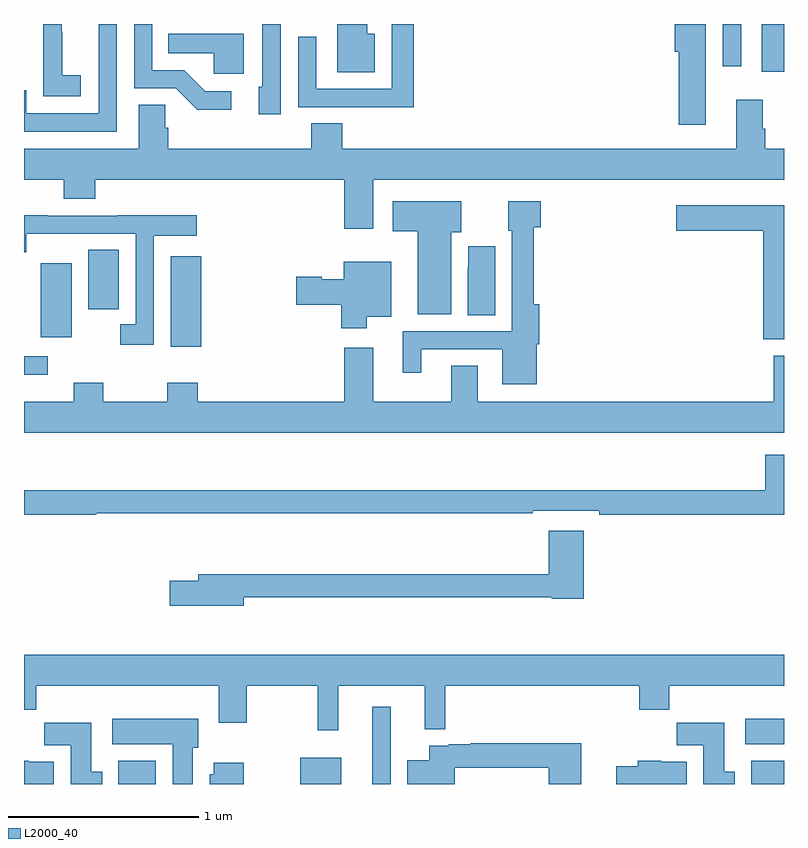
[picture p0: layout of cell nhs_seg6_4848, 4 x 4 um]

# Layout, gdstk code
import gdstk
lib = gdstk.Library(unit=1e-6, precision=1e-09)
def R(c, l, rs):  # rectangles x0, y0, x1, y1
    for r in rs: c.add(gdstk.rectangle(r[:2], r[2:], *l))
def P(c, l, *ps):  # polygons
    for p in ps: c.add(gdstk.Polygon(p, *l))
L2000_40 = (2000, 40)

nhs_seg6_4848 = lib.new_cell('nhs_seg6_4848')
R(nhs_seg6_4848, L2000_40, [(399.497,933.5,399.694,933.622), (400.454,933.5,400.669,933.637), (400.832,933.5,400.929,933.907), (402.827,933.5,403,933.622), (402.795,933.71,403,933.844), (399,935.654,399.124,935.751), (399.773,935.802,399.934,936.277), (399.089,935.852,399.25,936.241), (399.338,936,399.499,936.311), (402.884,937.25,403,937.5), (402.678,937.278,402.774,937.5)])
P(nhs_seg6_4848, L2000_40, [(402.589,937.5),(402.425,937.5),(402.425,937.353),(402.446,937.353),(402.446,936.969),(402.589,936.969)],
  [(400.09,937.146),(399.955,937.146),(399.844,937.257),(399.675,937.257),(399.675,937.5),(399.579,937.5),(399.579,937.161),(399.798,937.161),(399.911,937.049),(400.09,937.049)],
  [(400.846,937.45),(400.807,937.45),(400.807,937.5),(400.649,937.5),(400.649,937.247),(400.846,937.247)],
  [(401.051,937.5),(400.935,937.5),(400.935,937.158),(400.539,937.158),(400.539,937.432),(400.443,937.432),(400.443,937.062),(400.759,937.062),(400.759,937.061),(401.051,937.061)],
  [(399.298,937.231),(399.2,937.231),(399.2,937.46),(399.198,937.46),(399.198,937.5),(399.101,937.5),(399.101,937.327),(399.1,937.327),(399.1,937.121),(399.298,937.121)],
  [(400.35,937.5),(400.253,937.5),(400.253,937.474),(400.254,937.474),(400.254,937.17),(400.235,937.17),(400.235,937.026),(400.35,937.026)],
  [(399.489,937.5),(399.283,937.5),(399.283,937.498),(399.393,937.498),(399.393,937.029),(399.012,937.029),(399.012,937.152),(399,937.152),(399,936.933),(399.489,936.933)],
  [(400.156,937.45),(399.76,937.45),(399.76,937.346),(399.999,937.346),(399.999,937.238),(400.156,937.238)],
  [(400.837,936.68),(403,936.68),(403,936.844),(402.902,936.844),(402.902,936.95),(402.889,936.95),(402.889,937.102),(402.749,937.102),(402.749,936.844),(400.676,936.844),(400.676,936.977),(400.511,936.977),(400.511,936.844),(399.758,936.844),(399.758,936.953),(399.744,936.953),(399.744,937.076),(399.605,937.076),(399.605,936.844),(399,936.844),(399,936.68),(399.209,936.68),(399.209,936.581),(399.374,936.581),(399.374,936.68),(400.685,936.68),(400.685,936.423),(400.837,936.423)],
  [(401.248,936.403),(401.302,936.403),(401.302,936.568),(400.941,936.568),(400.941,936.41),(401.072,936.41),(401.072,935.972),(401.248,935.972)],
  [(401.698,935.814),(401.711,935.814),(401.711,936.025),(401.684,936.025),(401.684,936.43),(401.719,936.43),(401.719,936.568),(401.549,936.568),(401.549,936.411),(401.568,936.411),(401.568,935.883),(400.994,935.883),(400.994,935.664),(401.092,935.664),(401.092,935.787),(401.516,935.787),(401.516,935.603),(401.698,935.603)],
  [(403,936.547),(402.432,936.547),(402.432,936.413),(402.89,936.413),(402.89,935.84),(403,935.84)],
  [(399.684,936.386),(399.91,936.386),(399.91,936.494),(399.491,936.494),(399.491,936.492),(399.125,936.492),(399.125,936.494),(399,936.494),(399,936.299),(399.013,936.299),(399.013,936.395),(399.242,936.395),(399.242,936.396),(399.588,936.396),(399.588,935.919),(399.507,935.919),(399.507,935.811),(399.684,935.811)],
  [(401.479,936.331),(401.339,936.331),(401.339,936.218),(401.336,936.218),(401.336,935.968),(401.479,935.968)],
  [(400.804,935.96),(400.933,935.96),(400.933,936.25),(400.682,936.25),(400.682,936.157),(400.566,936.157),(400.566,936.17),(400.434,936.17),(400.434,936.023),(400.67,936.023),(400.67,935.898),(400.804,935.898)],
  [(403,935.755),(402.947,935.755),(402.947,935.512),(401.389,935.512),(401.389,935.702),(401.249,935.702),(401.249,935.512),(400.837,935.512),(400.837,935.797),(400.685,935.797),(400.685,935.512),(399.914,935.512),(399.914,935.611),(399.754,935.611),(399.754,935.512),(399.417,935.512),(399.417,935.611),(399.262,935.611),(399.262,935.512),(399,935.512),(399,935.348),(403,935.348)],
  [(399.38,934.926),(401.678,934.926),(401.678,934.938),(402.028,934.938),(402.028,934.918),(403,934.918),(403,935.233),(402.902,935.233),(402.902,935.047),(399,935.047),(399,934.918),(399.38,934.918)],
  [(400.156,934.482),(401.778,934.482),(401.778,934.474),(401.945,934.474),(401.945,934.834),(401.762,934.834),(401.762,934.603),(399.917,934.603),(399.917,934.569),(399.768,934.569),(399.768,934.439),(400.156,934.439)],
  [(400.655,934.016),(401.108,934.016),(401.108,933.787),(401.216,933.787),(401.216,934.016),(402.239,934.016),(402.239,933.892),(402.395,933.892),(402.395,934.016),(403,934.016),(403,934.18),(399,934.18),(399,933.892),(399.065,933.892),(399.065,934.016),(400.025,934.016),(400.025,933.822),(400.173,933.822),(400.173,934.016),(400.545,934.016),(400.545,933.783),(400.655,933.783)],
  [(399.889,933.69),(399.916,933.69),(399.916,933.844),(399.465,933.844),(399.465,933.71),(399.782,933.71),(399.782,933.5),(399.889,933.5)],
  [(402.742,933.564),(402.685,933.564),(402.685,933.823),(402.436,933.823),(402.436,933.704),(402.575,933.704),(402.575,933.5),(402.742,933.5)],
  [(399.412,933.564),(399.355,933.564),(399.355,933.823),(399.106,933.823),(399.106,933.704),(399.245,933.704),(399.245,933.5),(399.412,933.5)],
  [(401.267,933.586),(401.762,933.586),(401.762,933.5),(401.932,933.5),(401.932,933.715),(401.35,933.715),(401.35,933.708),(401.236,933.708),(401.236,933.702),(401.132,933.702),(401.132,933.625),(401.018,933.625),(401.018,933.5),(401.267,933.5)],
  [(402.487,933.616),(402.354,933.616),(402.354,933.622),(402.229,933.622),(402.229,933.594),(402.117,933.594),(402.117,933.5),(402.487,933.5)],
  [(399.157,933.616),(399.024,933.616),(399.024,933.622),(399,933.622),(399,933.5),(399.157,933.5)],
  [(400.156,933.613),(399.998,933.613),(399.998,933.552),(399.977,933.552),(399.977,933.5),(400.156,933.5)])

lib.write_gds('nhs_seg6_4848.gds')
